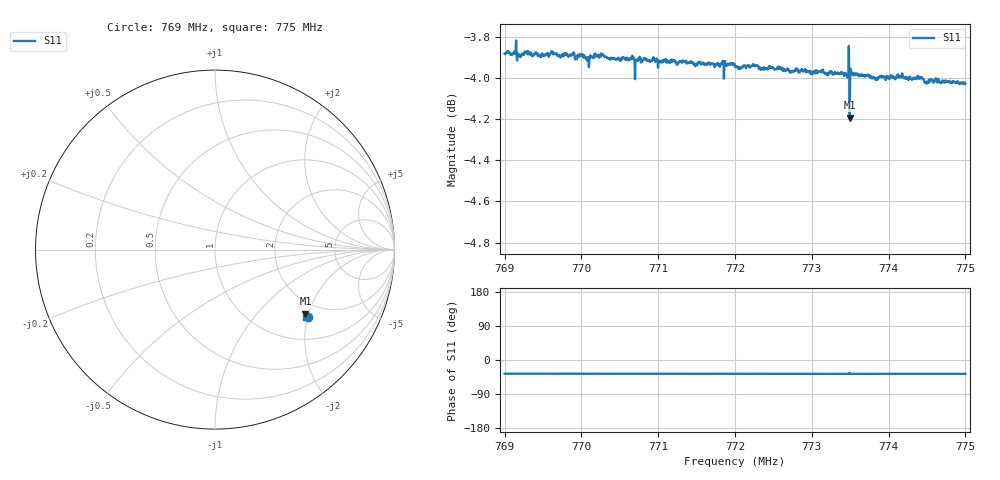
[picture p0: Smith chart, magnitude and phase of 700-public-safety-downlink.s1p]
! Calibrated averaged scanner-service zoom
# Hz S RI R 50
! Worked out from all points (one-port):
!   1001 points, 769 MHz to 775 MHz, reference 50 ohm
!   lowest |S11| = -4.2 dB at 773.494 MHz (marker M1), VSWR 4.22, Z = 82.9 - j95.5 ohm
!   |S11| at or under -10 dB: nowhere
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7.69e8  0.5167 -0.3771
7.6945e8  0.5164 -0.3759
7.69612e8  0.517 -0.3782
7.6975e8  0.5157 -0.3782
7.69876e8  0.5163 -0.3766
7.7008e8  0.5154 -0.3766
7.70278e8  0.5157 -0.378
7.705e8  0.5138 -0.3772
7.70716e8  0.5135 -0.3774
7.70734e8  0.5136 -0.3767
7.7125e8  0.5117 -0.3773
7.72e8  0.5114 -0.3768
7.7227e8  0.5115 -0.3767
7.7275e8  0.5092 -0.3763
7.73326e8  0.5079 -0.3772
7.73446e8  0.5082 -0.3758
7.73458e8  0.5082 -0.3754
7.73464e8  0.5077 -0.3749
7.73494e8  0.5036 -0.3566
7.735e8  0.5089 -0.3753
7.73524e8  0.5083 -0.3771
7.7353e8  0.5082 -0.3765
7.73548e8  0.5078 -0.3767
7.73824e8  0.5069 -0.375
7.7425e8  0.5064 -0.3756
7.744e8  0.507 -0.3762
7.74478e8  0.5059 -0.3744
7.75e8  0.505 -0.3751
